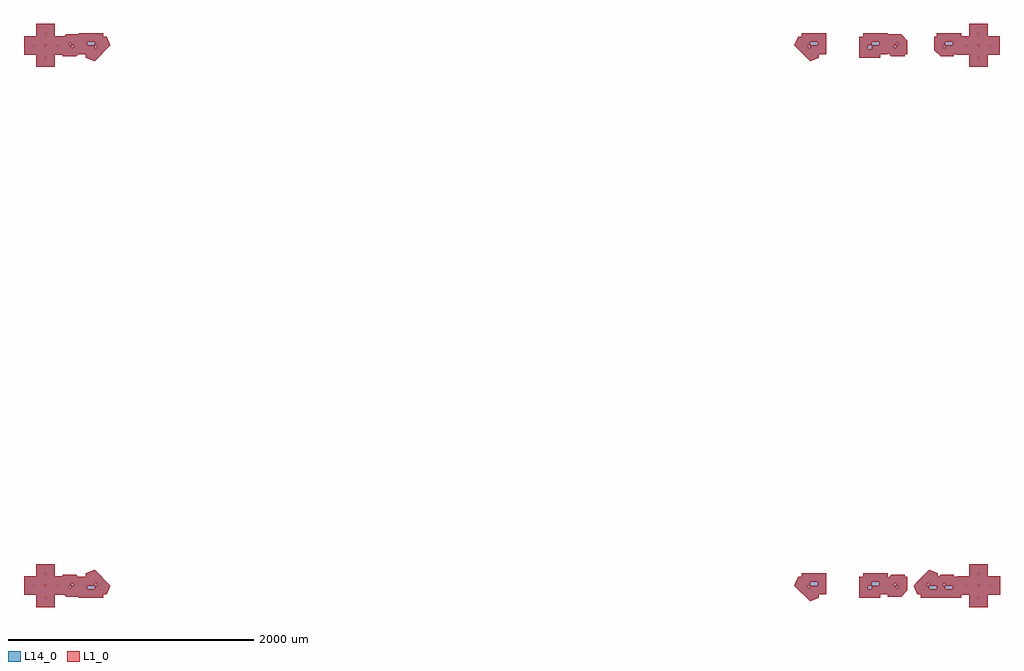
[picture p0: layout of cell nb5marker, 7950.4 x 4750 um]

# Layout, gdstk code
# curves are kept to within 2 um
import gdstk
lib = gdstk.Library(unit=1e-6, precision=1e-09)
def R(c, l, rs):  # rectangles x0, y0, x1, y1
    for r in rs: c.add(gdstk.rectangle(r[:2], r[2:], *l))
def A(c, l, x, y, w, h, nx, ny, dx, dy):  # array of equal rectangles
    R(c, l, [(x+i*dx, y+j*dy, x+i*dx+w, y+j*dy+h) for i in range(nx) for j in range(ny)])
def P(c, l, *ps):  # polygons
    for p in ps: c.add(gdstk.Polygon(p, *l))
L1_0 = (1, 0)
L14_0 = (14, 0)

nb5marker = lib.new_cell('nb5marker')
P(nb5marker, L1_0, [(2430,-2328.994),(2301.006,-2200),(2313.432,-2170),(2430,-2170),(2430,-2200),(2400,-2200),(2430,-2230),(2430,-2200),(2490,-2200),(2490,-2170),(2313.432,-2170),(2330,-2130),(2360,-2130),(2360,-2100),(2560,-2100),(2560,-2270),(2500,-2270),(2500,-2300)],
  [(2830,-2300),(2830,-2170),(2930,-2170),(2930,-2200),(2900,-2200),(2900,-2230),(2930,-2230),(2930,-2200),(2990,-2200),(2990,-2180),(3120,-2180),(3110,-2190),(3110,-2200),(3130,-2200),(3130,-2220),(3140,-2220),(3150,-2210),(3150,-2200),(3130,-2200),(3130,-2180),(2990,-2180),(2990,-2170),(2830,-2170),(2830,-2130),(2860,-2130),(2860,-2100),(3060,-2100),(3060,-2141.006),(3091.006,-2110),(3200,-2110),(3200,-2130),(3220,-2130),(3220,-2238.994),(3168.994,-2290),(3060,-2290),(3060,-2270),(3000,-2270),(3000,-2300)],
  [(-3874,-2375),(-3874,-2295),(-3804,-2295),(-3804,-2305),(-3794,-2305),(-3794,-2295),(-3874,-2295),(-3874,-2275),(-3974,-2275),(-3974,-2195),(-3904,-2195),(-3904,-2205),(-3894,-2205),(-3894,-2195),(-3804,-2195),(-3804,-2205),(-3794,-2205),(-3794,-2195),(-3704,-2195),(-3704,-2205),(-3694,-2205),(-3694,-2195),(-3974,-2195),(-3974,-2180),(-3590,-2180),(-3590,-2200),(-3610,-2200),(-3610,-2210),(-3600,-2220),(-3590,-2220),(-3590,-2200),(-3570,-2200),(-3570,-2190),(-3580,-2180),(-3974,-2180),(-3974,-2170),(-3400,-2170),(-3400,-2200),(-3460,-2200),(-3460,-2230),(-3400,-2230),(-3400,-2200),(-3370,-2200),(-3400,-2170),(-3974,-2170),(-3974,-2125),(-3874,-2125),(-3874,-2095),(-3804,-2095),(-3804,-2105),(-3794,-2105),(-3794,-2095),(-3874,-2095),(-3874,-2025),(-3724,-2025),(-3724,-2125),(-3660,-2125),(-3660,-2110),(-3551.006,-2110),(-3530,-2131.006),(-3470,-2130),(-3470,-2100),(-3400,-2071.006),(-3271.006,-2200),(-3300,-2270),(-3330,-2270),(-3330,-2300),(-3530,-2300),(-3530,-2290),(-3628.994,-2290),(-3643.994,-2275),(-3724,-2275),(-3724,-2375)],
  [(3725.4,-2375),(3725.4,-2295),(3795.4,-2295),(3795.4,-2305),(3805.4,-2305),(3805.4,-2295),(3725.4,-2295),(3725.4,-2275),(3660,-2275),(3660,-2300),(3330,-2300),(3330,-2270),(3300,-2270),(3271.006,-2200),(3301.006,-2170),(3400,-2170),(3370,-2200),(3400,-2200),(3400,-2230),(3460,-2230),(3460,-2200),(3400,-2200),(3400,-2180),(3520,-2180),(3510,-2190),(3510,-2200),(3530,-2200),(3530,-2230),(3590,-2230),(3590,-2200),(3530,-2200),(3530,-2195),(3695.4,-2195),(3695.4,-2205),(3705.4,-2205),(3705.4,-2195),(3795.4,-2195),(3795.4,-2205),(3805.4,-2205),(3805.4,-2195),(3895.4,-2195),(3895.4,-2205),(3905.4,-2205),(3905.4,-2195),(3530,-2195),(3530,-2180),(3400,-2180),(3400,-2170),(3301.006,-2170),(3400,-2071.006),(3470,-2100),(3470,-2130),(3491.006,-2110),(3600,-2110),(3600,-2130),(3625.4,-2130),(3625.4,-2125),(3725.4,-2125),(3725.4,-2095),(3795.4,-2095),(3795.4,-2105),(3805.4,-2105),(3805.4,-2095),(3725.4,-2095),(3725.4,-2025),(3875.4,-2025),(3875.4,-2125),(3975.4,-2125),(3975.4,-2275),(3875.4,-2275),(3875.4,-2375)],
  [(2430,2071.006),(2301.006,2200),(2313.432,2230),(2430,2230),(2430,2200),(2400,2200),(2430,2170),(2430,2200),(2490,2200),(2490,2230),(2313.432,2230),(2330,2270),(2360,2270),(2360,2300),(2560,2300),(2560,2130),(2500,2130),(2500,2100)],
  [(2830,2100),(2830,2230),(2930,2230),(2930,2200),(2900,2200),(2900,2170),(2930,2170),(2930,2200),(2990,2200),(2990,2220),(3130,2220),(3130,2200),(3110,2200),(3110,2190),(3120,2180),(3130,2180),(3130,2200),(3150,2200),(3150,2210),(3140,2220),(2990,2220),(2990,2230),(2830,2230),(2830,2270),(2860,2270),(2860,2300),(3060,2300),(3060,2290),(3168.994,2290),(3220,2238.994),(3220,2130),(3200,2130),(3200,2110),(3091.006,2110),(3060,2141.006),(3060,2130),(3000,2130),(3000,2100)],
  [(-3875,2025),(-3875,2105),(-3805,2105),(-3805,2095),(-3795,2095),(-3795,2105),(-3875,2105),(-3875,2125),(-3975,2125),(-3975,2205),(-3905,2205),(-3905,2195),(-3895,2195),(-3895,2205),(-3805,2205),(-3805,2195),(-3795,2195),(-3795,2205),(-3705,2205),(-3705,2195),(-3695,2195),(-3695,2205),(-3975,2205),(-3975,2220),(-3600,2220),(-3610,2210),(-3610,2200),(-3590,2200),(-3590,2180),(-3580,2180),(-3570,2190),(-3570,2200),(-3590,2200),(-3590,2220),(-3975,2220),(-3975,2230),(-3460,2230),(-3460,2200),(-3400,2200),(-3400,2170),(-3370,2200),(-3400,2200),(-3400,2230),(-3975,2230),(-3975,2275),(-3875,2275),(-3875,2305),(-3805,2305),(-3805,2295),(-3795,2295),(-3795,2305),(-3875,2305),(-3875,2375),(-3725,2375),(-3725,2275),(-3643.994,2275),(-3628.994,2290),(-3530,2290),(-3530,2300),(-3330,2300),(-3330,2270),(-3300,2270),(-3271.006,2200),(-3400,2071.006),(-3470,2100),(-3470,2130),(-3530,2131.006),(-3551.006,2110),(-3660,2110),(-3660,2125),(-3725,2125),(-3725,2025)],
  [(3725,2025),(3725,2105),(3795,2105),(3795,2095),(3805,2095),(3805,2105),(3725,2105),(3725,2125),(3625,2125),(3625,2130),(3600,2130),(3600,2110),(3491.006,2110),(3440,2161.006),(3440,2230),(3530,2230),(3530,2200),(3510,2200),(3510,2190),(3520,2180),(3530,2180),(3530,2200),(3590,2200),(3590,2205),(3695,2205),(3695,2195),(3705,2195),(3705,2205),(3795,2205),(3795,2195),(3805,2195),(3805,2205),(3895,2205),(3895,2195),(3905,2195),(3905,2205),(3590,2205),(3590,2230),(3440,2230),(3440,2270),(3460,2270),(3460,2300),(3660,2300),(3660,2275),(3725,2275),(3725,2305),(3795,2305),(3795,2295),(3805,2295),(3805,2305),(3725,2305),(3725,2375),(3875,2375),(3875,2275),(3975,2275),(3975,2125),(3875,2125),(3875,2025)])
A(nb5marker, L14_0, -3974, -2275, 150, 150, 3, 1, 100, 0)
A(nb5marker, L14_0, 3625.4, -2275, 150, 150, 3, 1, 100, 0)
A(nb5marker, L14_0, -3975, 2125, 150, 150, 3, 1, 100, 0)
A(nb5marker, L14_0, 3625, 2125, 150, 150, 3, 1, 100, 0)
R(nb5marker, L14_0, [(-3874,-2375,-3724,-2225), (3725.4,-2375,3875.4,-2225), (-3874,-2175,-3724,-2025), (3725.4,-2175,3875.4,-2025), (-3875,2025,-3725,2175), (3725,2025,3875,2175), (-3875,2225,-3725,2375), (3725,2225,3875,2375)])
P(nb5marker, L14_0, [(-3628.994,-2290),(-3680,-2238.994),(-3680,-2130),(-3660,-2130),(-3660,-2110),(-3551.006,-2110),(-3500,-2161.006),(-3500,-2270),(-3520,-2270),(-3520,-2290)],
  [(3060,-2290),(3060,-2270),(3040,-2270),(3040,-2161.006),(3091.006,-2110),(3200,-2110),(3200,-2130),(3220,-2130),(3220,-2238.994),(3168.994,-2290)],
  [(3460,-2300),(3460,-2270),(3440,-2270),(3440,-2161.006),(3491.006,-2110),(3600,-2110),(3600,-2130),(3660,-2130),(3660,-2300)],
  [(-3530,-2300),(-3530,-2130),(-3470,-2130),(-3470,-2100),(-3400,-2071.006),(-3271.006,-2200),(-3300,-2270),(-3330,-2270),(-3330,-2300)],
  [(2430,-2328.994),(2301.006,-2200),(2330,-2130),(2360,-2130),(2360,-2100),(2560,-2100),(2560,-2270),(2500,-2270),(2500,-2300)],
  [(2830,-2300),(2830,-2130),(2860,-2130),(2860,-2100),(3060,-2100),(3060,-2270),(3000,-2270),(3000,-2300)],
  [(3330,-2300),(3330,-2270),(3300,-2270),(3271.006,-2200),(3400,-2071.006),(3470,-2100),(3470,-2130),(3530,-2130),(3530,-2300)],
  [(-3660,2110),(-3660,2130),(-3680,2130),(-3680,2238.994),(-3628.994,2290),(-3520,2290),(-3520,2270),(-3500,2270),(-3500,2161.006),(-3551.006,2110)],
  [(3091.006,2110),(3040,2161.006),(3040,2270),(3060,2270),(3060,2290),(3168.994,2290),(3220,2238.994),(3220,2130),(3200,2130),(3200,2110)],
  [(-3400,2071.006),(-3470,2100),(-3470,2130),(-3530,2130),(-3530,2300),(-3330,2300),(-3330,2270),(-3300,2270),(-3271.006,2200)],
  [(2430,2071.006),(2301.006,2200),(2330,2270),(2360,2270),(2360,2300),(2560,2300),(2560,2130),(2500,2130),(2500,2100)],
  [(2830,2100),(2830,2270),(2860,2270),(2860,2300),(3060,2300),(3060,2130),(3000,2130),(3000,2100)],
  [(3491.006,2110),(3440,2161.006),(3440,2270),(3460,2270),(3460,2300),(3660,2300),(3660,2130),(3600,2130),(3600,2110)])

lib.write_gds('nb5marker.gds')
